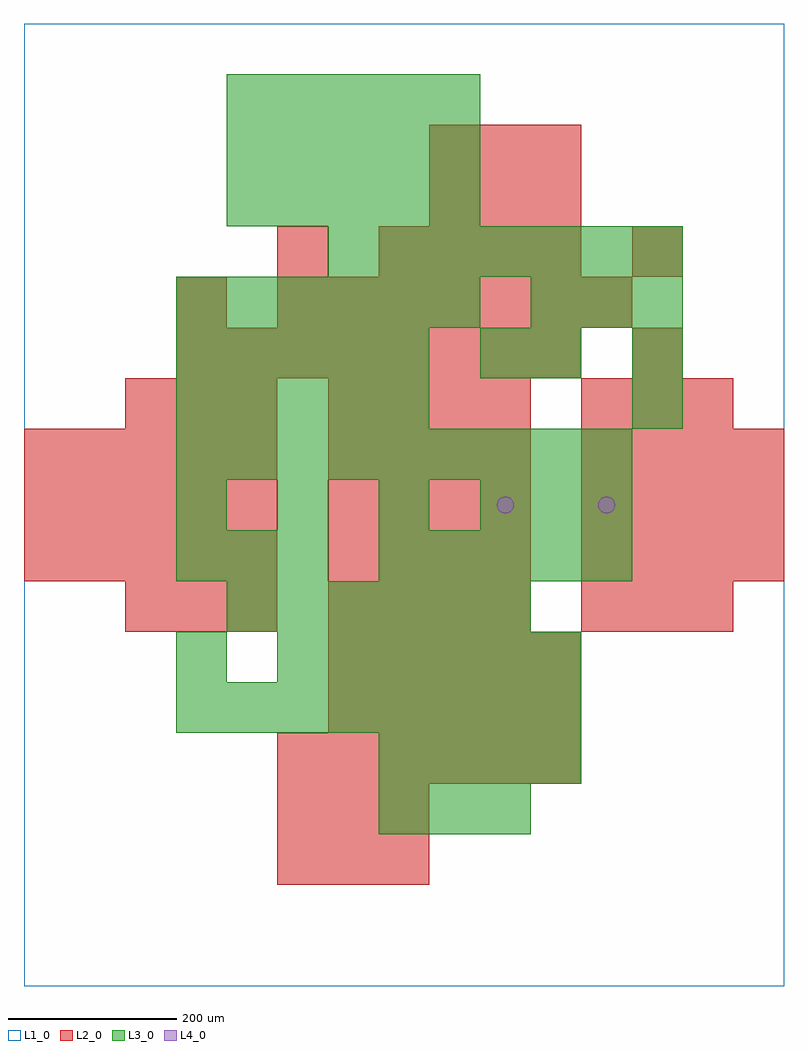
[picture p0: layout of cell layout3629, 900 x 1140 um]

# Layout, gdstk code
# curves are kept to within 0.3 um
import gdstk
lib = gdstk.Library(unit=1e-6, precision=1e-09)
def R(c, l, rs):  # rectangles x0, y0, x1, y1
    for r in rs: c.add(gdstk.rectangle(r[:2], r[2:], *l))
def A(c, l, x, y, w, h, nx, ny, dx, dy):  # array of equal rectangles
    R(c, l, [(x+i*dx, y+j*dy, x+i*dx+w, y+j*dy+h) for i in range(nx) for j in range(ny)])
def P(c, l, *ps):  # polygons
    for p in ps: c.add(gdstk.Polygon(p, *l))
L1_0 = (1, 0)
L2_0 = (2, 0)
L3_0 = (3, 0)
L4_0 = (4, 0)

layout3629 = lib.new_cell('layout3629')
R(layout3629, L1_0, [(0,0,900,1140)])
A(layout3629, L2_0, 300, 120, 60, 60, 3, 2, 60, 60)
A(layout3629, L2_0, 300, 240, 60, 60, 6, 1, 60, 0)
A(layout3629, L2_0, 360, 300, 60, 60, 5, 2, 60, 60)
A(layout3629, L2_0, 120, 420, 60, 60, 3, 2, 60, 240)
A(layout3629, L2_0, 360, 420, 60, 60, 4, 5, 60, 60)
A(layout3629, L2_0, 660, 420, 60, 60, 3, 2, 60, 240)
A(layout3629, L2_0, 0, 480, 60, 60, 5, 3, 60, 60)
A(layout3629, L2_0, 660, 480, 60, 60, 4, 3, 60, 60)
A(layout3629, L2_0, 180, 720, 60, 60, 8, 1, 60, 0)
A(layout3629, L2_0, 300, 780, 60, 60, 7, 1, 60, 0)
A(layout3629, L2_0, 420, 840, 60, 60, 4, 1, 60, 0)
A(layout3629, L2_0, 480, 900, 60, 60, 3, 2, 60, 60)
R(layout3629, L2_0, [(720,720,780,780), (180,780,240,840), (300,840,360,900), (720,840,780,900)])
A(layout3629, L3_0, 420, 180, 60, 60, 3, 1, 60, 0)
A(layout3629, L3_0, 420, 240, 60, 60, 4, 1, 60, 0)
A(layout3629, L3_0, 180, 300, 60, 60, 8, 1, 60, 0)
A(layout3629, L3_0, 300, 360, 60, 60, 6, 1, 60, 0)
A(layout3629, L3_0, 240, 420, 60, 60, 6, 1, 60, 0)
A(layout3629, L3_0, 180, 480, 60, 60, 3, 1, 60, 0)
A(layout3629, L3_0, 420, 480, 60, 60, 5, 1, 60, 0)
A(layout3629, L3_0, 180, 540, 60, 60, 4, 1, 120, 0)
A(layout3629, L3_0, 180, 600, 60, 60, 9, 1, 60, 0)
A(layout3629, L3_0, 180, 660, 60, 60, 5, 2, 60, 60)
A(layout3629, L3_0, 180, 780, 60, 60, 6, 1, 60, 0)
A(layout3629, L3_0, 600, 780, 60, 60, 3, 1, 60, 0)
A(layout3629, L3_0, 360, 840, 60, 60, 7, 1, 60, 0)
A(layout3629, L3_0, 240, 900, 60, 60, 5, 3, 60, 60)
R(layout3629, L3_0, [(180,360,240,420), (600,540,660,600), (660,540,720,600), (720,660,780,720), (540,720,600,780), (600,720,660,780), (720,720,780,780)])
P(layout3629, L4_0, [(580,570),(579.239,573.827),(577.071,577.071),(573.827,579.239),(570,580),(566.173,579.239),(562.929,577.071),(560.761,573.827),(560,570),(560.761,566.173),(562.929,562.929),(566.173,560.761),(570,560),(573.827,560.761),(577.071,562.929),(579.239,566.173)],
  [(700,570),(699.239,573.827),(697.071,577.071),(693.827,579.239),(690,580),(686.173,579.239),(682.929,577.071),(680.761,573.827),(680,570),(680.761,566.173),(682.929,562.929),(686.173,560.761),(690,560),(693.827,560.761),(697.071,562.929),(699.239,566.173)])

lib.write_gds('layout3629.gds')
